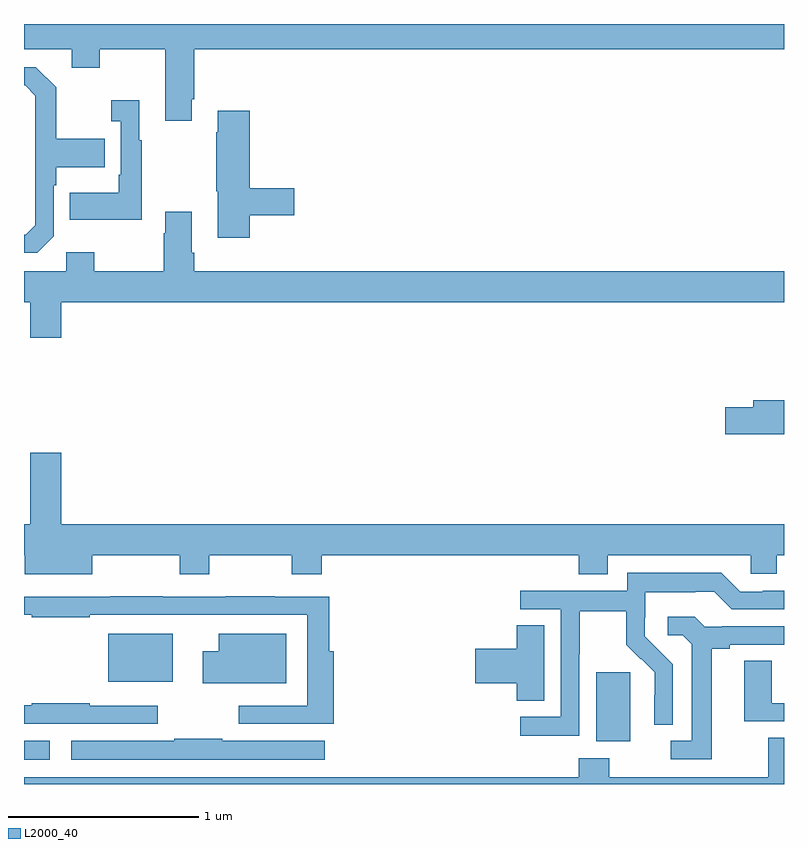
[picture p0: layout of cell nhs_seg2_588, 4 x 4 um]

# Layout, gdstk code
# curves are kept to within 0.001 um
import gdstk
lib = gdstk.Library(unit=1e-6, precision=1e-09)
def R(c, l, rs):  # rectangles x0, y0, x1, y1
    for r in rs: c.add(gdstk.rectangle(r[:2], r[2:], *l))
def P(c, l, *ps):  # polygons
    for p in ps: c.add(gdstk.Polygon(p, *l))
L2000_40 = (2000, 40)

nhs_seg2_588 = lib.new_cell('nhs_seg2_588')
R(nhs_seg2_588, L2000_40, [(141,611.927,141.136,612.028), (144.011,612.026,144.19,612.387), (141.443,612.338,141.784,612.592)])
P(nhs_seg2_588, L2000_40, [(141.883,615.403),(141.896,615.403),(141.896,615.668),(145,615.668),(145,615.8),(141,615.8),(141,615.668),(141.251,615.668),(141.251,615.569),(141.399,615.569),(141.399,615.668),(141.743,615.668),(141.743,615.291),(141.883,615.291)],
  [(141.156,614.682),(141.156,614.951),(141.169,614.951),(141.169,615.047),(141.425,615.047),(141.425,615.195),(141.169,615.195),(141.169,615.467),(141.063,615.573),(141,615.573),(141,615.477),(141.006,615.477),(141.06,615.423),(141.06,614.742),(141.009,614.691),(141,614.691),(141,614.595),(141.069,614.595)],
  [(141.619,615.187),(141.607,615.187),(141.607,615.4),(141.459,615.4),(141.459,615.287),(141.51,615.287),(141.51,615.007),(141.498,615.007),(141.498,614.911),(141.241,614.911),(141.241,614.771),(141.619,614.771)],
  [(142.187,614.794),(142.423,614.794),(142.423,614.936),(142.187,614.936),(142.187,615.343),(142.019,615.343),(142.019,615.23),(142.012,615.23),(142.012,614.919),(142.019,614.919),(142.019,614.676),(142.187,614.676)],
  [(141.196,614.336),(145,614.336),(145,614.5),(141.896,614.5),(141.896,614.596),(141.883,614.596),(141.883,614.812),(141.743,614.812),(141.743,614.699),(141.736,614.699),(141.736,614.5),(141.369,614.5),(141.369,614.599),(141.222,614.599),(141.222,614.5),(141,614.5),(141,614.336),(141.032,614.336),(141.032,614.148),(141.196,614.148)],
  [(145,613.82),(144.839,613.82),(144.839,613.784),(144.69,613.784),(144.69,613.642),(145,613.642)],
  [(141.358,613.004),(141.82,613.004),(141.82,612.905),(141.975,612.905),(141.975,613.004),(142.408,613.004),(142.408,612.905),(142.568,612.905),(142.568,613.004),(143.921,613.004),(143.921,612.905),(144.073,612.905),(144.073,613.004),(144.825,613.004),(144.825,612.906),(144.963,612.906),(144.963,613.004),(145,613.004),(145,613.168),(141.196,613.168),(141.196,613.543),(141.032,613.543),(141.032,613.168),(141,613.168),(141,613.004),(141.005,613.004),(141.005,612.905),(141.358,612.905)],
  [(143.922,612.484),(143.925,612.484),(143.925,612.708),(144.169,612.708),(144.169,612.533),(144.246,612.456),(144.249,612.459),(144.32,612.389),(144.32,612.266),(144.318,612.266),(144.318,612.112),(144.414,612.112),(144.414,612.43),(144.268,612.578),(144.268,612.675),(144.27,612.675),(144.27,612.809),(144.533,612.809),(144.533,612.813),(144.633,612.813),(144.726,612.72),(145,612.72),(145,612.816),(144.887,612.816),(144.887,612.813),(144.771,612.813),(144.671,612.913),(144.174,612.913),(144.174,612.816),(143.613,612.816),(143.613,612.72),(143.826,612.72),(143.826,612.153),(143.613,612.153),(143.613,612.055),(143.922,612.055)],
  [(142.631,612.499),(142.607,612.499),(142.607,612.786),(142.319,612.786),(142.319,612.788),(142.063,612.788),(142.063,612.786),(141.731,612.786),(141.731,612.788),(141.454,612.788),(141.454,612.786),(141,612.786),(141,612.69),(141.04,612.69),(141.04,612.678),(141.347,612.678),(141.347,612.69),(142.491,612.69),(142.491,612.213),(142.131,612.213),(142.131,612.117),(142.631,612.117)],
  [(144.619,612.512),(144.715,612.512),(144.715,612.534),(145,612.534),(145,612.63),(144.676,612.63),(144.676,612.627),(144.582,612.627),(144.53,612.679),(144.387,612.679),(144.387,612.582),(144.468,612.582),(144.515,612.535),(144.515,612.027),(144.405,612.027),(144.405,611.931),(144.619,611.931)],
  [(143.737,612.635),(143.594,612.635),(143.594,612.512),(143.376,612.512),(143.376,612.329),(143.594,612.329),(143.594,612.238),(143.737,612.238)],
  [(142.381,612.592),(142.025,612.592),(142.025,612.499),(141.941,612.499),(141.941,612.329),(142.381,612.329)],
  [(145,612.225),(144.936,612.225),(144.936,612.449),(144.791,612.449),(144.791,612.129),(145,612.129)],
  [(141.703,612.213),(141.347,612.213),(141.347,612.226),(141.04,612.226),(141.04,612.214),(141,612.214),(141,612.117),(141.703,612.117)],
  [(145,612.044),(144.917,612.044),(144.917,611.836),(144.081,611.836),(144.081,611.935),(143.921,611.935),(143.921,611.836),(141,611.836),(141,611.8),(145,611.8)],
  [(142.582,612.028),(142.043,612.028),(142.043,612.038),(141.79,612.038),(141.79,612.028),(141.249,612.028),(141.249,611.927),(142.582,611.927)])

lib.write_gds('nhs_seg2_588.gds')
